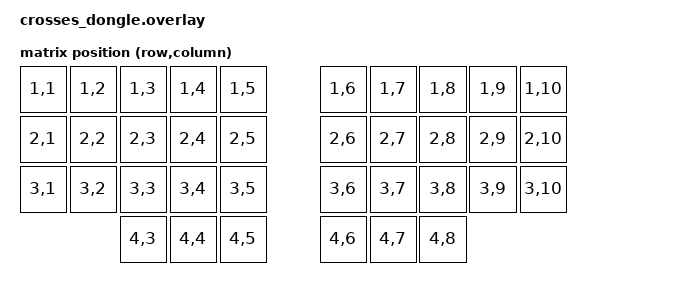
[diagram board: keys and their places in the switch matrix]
#include <dt-bindings/zmk/matrix_transform.h>
#include <input/processors.dtsi>
#include "../crosses/thirty_six_layout.dtsi"

/ {
    chosen {
        zmk,kscan = &mock_kscan;
        zmk,physical-layout = &gggw_crosses_36_layout;
    };

    mock_kscan: kscan_1 {
        compatible = "zmk,kscan-mock";
        columns = <0>;
        rows = <0>;
        events = <0>;
    };

    // Auto-mouse layer processor (upstream Temporary Layer Input Processor)
    /omit-if-no-ref/ aml: aml {
        compatible = "zmk,input-processor-temp-layer";
        #input-processor-cells = <2>;
        require-prior-idle-ms = <250>;
        excluded-positions = <3 11 12 13 23>;
    };

    split_inputs {
        #address-cells = <1>;
        #size-cells = <0>;

        // Left half trackball (reg 0)
        trackball_peripheral_split: trackball_peripheral_split@0 {
            compatible = "zmk,input-split";
            reg = <0>;
        };

        // Right half trackball (reg 1)
        trackball_right_split: trackball_right_split@1 {
            compatible = "zmk,input-split";
            reg = <1>;
        };
    };

    // Listener for left half trackball
    trackball_left_listener: trackball_left_listener {
        compatible = "zmk,input-listener";
        status = "okay";
        device = <&trackball_peripheral_split>;
        input-processors = <&aml 3 3000>;
    };

    // Listener for right half trackball
    trackball_right_listener: trackball_right_listener {
        compatible = "zmk,input-listener";
        status = "okay";
        device = <&trackball_right_split>;
        input-processors = <&aml 3 3000>;
    };

    thirty_six_transform: keymap_transform_dongle {
        compatible = "zmk,matrix-transform";
        columns = <12>;
        rows = <5>;
        map = <
            RC(1,1) RC(1,2) RC(1,3) RC(1,4) RC(1,5) RC(1,6) RC(1,7) RC(1,8) RC(1,9) RC(1,10)
            RC(2,1) RC(2,2) RC(2,3) RC(2,4) RC(2,5) RC(2,6) RC(2,7) RC(2,8) RC(2,9) RC(2,10)
            RC(3,1) RC(3,2) RC(3,3) RC(3,4) RC(3,5) RC(3,6) RC(3,7) RC(3,8) RC(3,9) RC(3,10)
                    RC(4,3) RC(4,4) RC(4,5) RC(4,6) RC(4,7) RC(4,8)
        >;
    };
};

&gggw_crosses_36_layout {
    transform = <&thirty_six_transform>;
};
